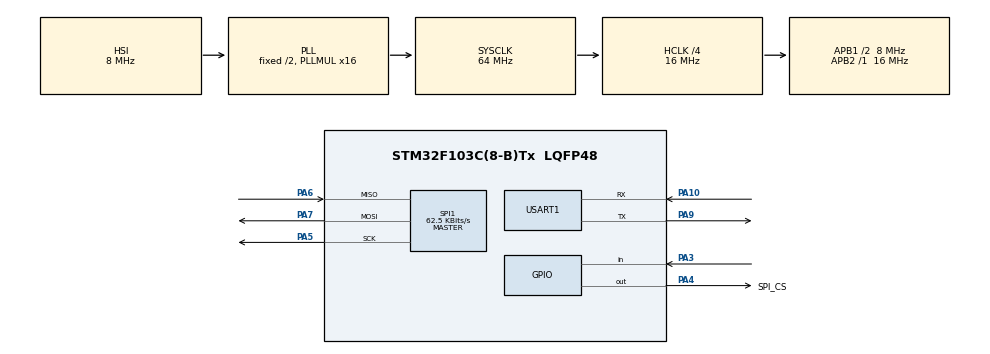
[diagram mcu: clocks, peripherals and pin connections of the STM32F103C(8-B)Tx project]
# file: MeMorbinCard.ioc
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Mcu.Family=STM32F1
Mcu.Name=STM32F103C(8-B)Tx
Mcu.Package=LQFP48
NVIC.PriorityGroup=NVIC_PRIORITYGROUP_4
NVIC.SPI1_IRQn=true\:0\:0\:false\:false\:true\:true\:true\:true
NVIC.USART1_IRQn=true\:0\:0\:false\:false\:true\:true\:true\:true
PA10.Mode=Asynchronous
PA10.Signal=USART1_RX
PA13.Mode=Serial_Wire
PA13.Signal=SYS_JTMS-SWDIO
PA14.Mode=Serial_Wire
PA14.Signal=SYS_JTCK-SWCLK
PA3.Signal=GPIO_Input
PA4.GPIO_Label=SPI_CS
PA4.PinState=GPIO_PIN_SET
PA4.Signal=GPIO_Output
PA5.Mode=Full_Duplex_Master
PA5.Signal=SPI1_SCK
PA6.Mode=Full_Duplex_Master
PA6.Signal=SPI1_MISO
PA7.Mode=Full_Duplex_Master
PA7.Signal=SPI1_MOSI
PA9.Mode=Asynchronous
PA9.Signal=USART1_TX
ProjectManager.HeapSize=0x200
ProjectManager.StackSize=0x400
ProjectManager.TargetToolchain=STM32CubeIDE
RCC.AHBCLKDivider=RCC_SYSCLK_DIV4
RCC.AHBFreq_Value=16000000
RCC.APB1CLKDivider=RCC_HCLK_DIV2
RCC.APB1Freq_Value=8000000
RCC.APB1TimFreq_Value=16000000
RCC.APB2Freq_Value=16000000
RCC.APB2TimFreq_Value=16000000
RCC.HCLKFreq_Value=16000000
RCC.PLLMUL=RCC_PLL_MUL16
RCC.SYSCLKFreq_VALUE=64000000
RCC.SYSCLKSource=RCC_SYSCLKSOURCE_PLLCLK
RCC.USBFreq_Value=64000000
SPI1.BaudRatePrescaler=SPI_BAUDRATEPRESCALER_256
SPI1.CLKPhase=SPI_PHASE_2EDGE
SPI1.CLKPolarity=SPI_POLARITY_HIGH
SPI1.CalculateBaudRate=62.5 KBits/s
SPI1.Direction=SPI_DIRECTION_2LINES
SPI1.FirstBit=SPI_FIRSTBIT_LSB
SPI1.Mode=SPI_MODE_MASTER
SPI1.VirtualType=VM_MASTER
USART1.VirtualMode=VM_ASYNC
board=custom

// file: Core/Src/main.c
/* USER CODE BEGIN Header */
/**
  ******************************************************************************
  * @file           : main.c
  * @brief          : Main program body
  ******************************************************************************
  * @attention
  *
  * Copyright (c) 2022 STMicroelectronics.
  * All rights reserved.
  *
  * This software is licensed under terms that can be found in the LICENSE file
  * in the root directory of this software component.
  * If no LICENSE file comes with this software, it is provided AS-IS.
  *
  ******************************************************************************
  */
/* USER CODE END Header */
#include "main.h"

/* USER CODE BEGIN Includes */
#include <string.h>
#include <stdio.h>
#include <stdlib.h>
/* USER CODE END Includes */

/* USER CODE BEGIN PD */
#define MEM_ID 0x81
#define MEM_READ 0x52
#define MEM_WRITE 0x57
#define IDLE 0x00

#define BUFFER_SIZE 200
#define SEND_BUFFER_SIZE 145
#define RECEIVE_BUFFER_SIZE 148

#define MEMCARD_BAD_CHECKSUM 0x4E
#define MEMCARD_BAD_SECTOR 0xFF
#define MEMCARD_WRITE_GOOD 0x47
#define MEMCARD_READ_GOOD 0x47

#define TIMEOUT 500

#define READ_COMMAND 'R'
#define WRITE_COMMAND 'W'

typedef enum Command{
	READ,
	WRITE,
	NONE
} Command;

typedef enum State{
	START,
	WAITING_FOR_COMMAND,
	RECEIVED_COMMAND,
	WAITING_FOR_DATA,
	DONE
} State;
/* USER CODE END PD */

 SPI_HandleTypeDef hspi1;

UART_HandleTypeDef huart1;

/* USER CODE BEGIN PV */
//Vou usar variáveis globais mesmo por enquanto
uint8_t command;
Command current_command = NONE;
uint8_t addr_buffer[2];
uint8_t data_buffer[128];
uint8_t buffer[130];
State state = START;
/* USER CODE END PV */

void SystemClock_Config(void);
static void MX_GPIO_Init(void);
static void MX_SPI1_Init(void);
static void MX_USART1_UART_Init(void);
/* USER CODE BEGIN PFP */
uint8_t get_checksum(uint8_t* address, uint8_t* data);
uint8_t write_to_memory(uint8_t* address, uint8_t* data);
uint8_t read_from_memory(uint8_t* address, uint8_t* received_data);
uint8_t check_write_errors(uint8_t* data);
uint8_t check_read_errors(uint8_t* data);
void transmit_uart_message(char*message, uint8_t size);

/* USER CODE END PFP */

/* USER CODE BEGIN 0 */
void hex2int(uint8_t* ch){
	uint8_t msb, lsb;
    if (ch[0] >= '0' && ch[0] <= '9')
        msb = ch[0] - '0';
    else if (ch[0] >= 'A' && ch[0] <= 'F')
        msb =  ch[0] - 'A' + 10;
    else
        msb = ch[0] - 'a' + 10;

    if (ch[1] >= '0' && ch[1] <= '9')
        lsb = ch[1] - '0';
    else if (ch[1] >= 'A' && ch[1] <= 'F')
        lsb =  ch[1] - 'A' + 10;
    else
        lsb = ch[1] - 'a' + 10;

    uint16_t tmp = msb*16+lsb;

    ch[0] = ((uint8_t*) &tmp)[0];
    ch[1] = ((uint8_t*) &tmp)[1];
}

uint8_t get_checksum(uint8_t* address, uint8_t* data){
	uint8_t check_sum = address[0]^address[1];

	int i;
	for(i = 0; i < 128; i++)
		check_sum ^= data[i];

	return check_sum;
}

uint8_t check_write_errors(uint8_t* data){
	return data[137];
}

uint8_t write_to_memory(uint8_t* address, uint8_t* data){
  uint8_t send_buffer[SEND_BUFFER_SIZE];
  uint8_t receive_buffer[SEND_BUFFER_SIZE];

  send_buffer[0] = MEM_ID;
  send_buffer[1] = MEM_WRITE;

  send_buffer[2] = IDLE;
  send_buffer[3] = IDLE;

  send_buffer[4] = address[0];
  send_buffer[5] = address[1];

  int i;
  for(i = 0; i < 128; i++)
    send_buffer[6+i] = data[i];

  send_buffer[134] = get_checksum(address, data);

  for(i = 0; i < 10; i++)
    send_buffer[135+i] = IDLE;

  HAL_GPIO_WritePin(SPI_CS_GPIO_Port, SPI_CS_Pin, GPIO_PIN_RESET);

  HAL_SPI_TransmitReceive(&hspi1, send_buffer, receive_buffer, SEND_BUFFER_SIZE, TIMEOUT);

  HAL_GPIO_WritePin(SPI_CS_GPIO_Port, SPI_CS_Pin, GPIO_PIN_SET);

  return check_write_errors(receive_buffer);
}

uint8_t check_read_errors(uint8_t* data){
	return data[139];
}

uint8_t read_from_memory(uint8_t* address, uint8_t* received_data){
  uint8_t send_buffer[RECEIVE_BUFFER_SIZE];
  uint8_t receive_buffer[RECEIVE_BUFFER_SIZE];

  HAL_GPIO_WritePin(SPI_CS_GPIO_Port, SPI_CS_Pin, GPIO_PIN_RESET);

  send_buffer[0] = MEM_ID;
  send_buffer[1] = MEM_READ;

  send_buffer[2] = IDLE;
  send_buffer[3] = IDLE;

  send_buffer[4] = address[0];
  send_buffer[5] = address[1];

  send_buffer[6] = IDLE;
  send_buffer[7] = IDLE;
  send_buffer[8] = IDLE;
  send_buffer[9] = IDLE;

  int i;
  for(i = 0; i < 130; i++)
    send_buffer[10+i] = IDLE;

  for(i = 0; i < 8; i++)
    send_buffer[140+i] = IDLE;

  HAL_GPIO_WritePin(SPI_CS_GPIO_Port, SPI_CS_Pin, GPIO_PIN_RESET);

  HAL_SPI_TransmitReceive(&hspi1, send_buffer, receive_buffer, RECEIVE_BUFFER_SIZE, TIMEOUT);

  HAL_GPIO_WritePin(SPI_CS_GPIO_Port, SPI_CS_Pin, GPIO_PIN_SET);

  for(i=0; i < 128; i++)
	  received_data[i] = receive_buffer[10+i];

  return check_read_errors(receive_buffer);
}

void transmit_uart_message(char* message, uint8_t size){
	// deixei em uma funcao por enquanto mesmo sendo so isso para
	// caso queiramos mudar a formatacao das mensagens depois
	HAL_UART_Transmit(&huart1, (uint8_t*) message, size, HAL_MAX_DELAY);
	HAL_UART_Transmit(&huart1, (uint8_t*) "\n\r", 2, HAL_MAX_DELAY);

}

void HAL_UART_RxCpltCallback(UART_HandleTypeDef *huart){
	if(current_command == NONE){
		if(command == READ_COMMAND)
			current_command = READ;
		else if(command == WRITE_COMMAND)
			current_command = WRITE;

		state = current_command == NONE ? START : RECEIVED_COMMAND;

	}else if(current_command == WRITE){
		addr_buffer[0] = buffer[0];
		addr_buffer[1] = buffer[1];
		hex2int(addr_buffer);

		int i;
		for(i = 0; i < 128; i++)
			data_buffer[i] = buffer[2+i];

		state = DONE;
	}else if(current_command == READ){
		addr_buffer[0] = buffer[0];
		addr_buffer[1] = buffer[1];
		hex2int(addr_buffer);

		state = DONE;
	}
}

/* USER CODE END 0 */

int main(void)
{

  /* MCU Configuration--------------------------------------------------------*/

  /* Reset of all peripherals, Initializes the Flash interface and the Systick. */
  HAL_Init();

  /* Configure the system clock */
  SystemClock_Config();

  /* Initialize all configured peripherals */
  MX_GPIO_Init();
  MX_SPI1_Init();
  MX_USART1_UART_Init();

  /* Infinite loop */
  /* USER CODE BEGIN WHILE */
  uint8_t status = 0;
  int receive_size = 0;
  while (1)
  {
    switch(state){
      case START:
    	transmit_uart_message("Esperando Comando", 17);
        HAL_UART_Receive_IT(&huart1, &command, 1);
        state = WAITING_FOR_COMMAND;
        break;

      case WAITING_FOR_COMMAND:
    	  break;

      case RECEIVED_COMMAND:
    	  transmit_uart_message("Comando Recebido", 16);
    	  char comm = '0'+current_command;
    	  transmit_uart_message(&comm, 1);

    	  receive_size = current_command == READ ? 2 : 130;
          HAL_UART_Receive_IT(&huart1, buffer, receive_size);
          state = WAITING_FOR_DATA;
    	  transmit_uart_message("Esperando Dados", 15);
          break;

      case WAITING_FOR_DATA:
    	  break;

      case DONE:
    	transmit_uart_message("Dados Recebidos", 15);
    	char stat[3];
      	if(current_command == READ){
      	    status = read_from_memory(addr_buffer, data_buffer);
      	    sprintf(stat, "%02X", status);
      	    transmit_uart_message("STATUS:", 7);
      	    transmit_uart_message(stat, 1);
      	    transmit_uart_message("DATA:", 5);
      	    transmit_uart_message((char*) data_buffer, 128);
      	}else if(current_command == WRITE){
      	   status = write_to_memory(addr_buffer, data_buffer);
     	   sprintf(stat, "%02X", status);
      	   transmit_uart_message("STATUS:", 7);
      	   transmit_uart_message(stat, 1);
      	 }

      	current_command = NONE;
      	state = START;
      	break;
    }
    /* USER CODE END WHILE */

  }
}

void SystemClock_Config(void)
{
  RCC_OscInitTypeDef RCC_OscInitStruct = {0};
  RCC_ClkInitTypeDef RCC_ClkInitStruct = {0};

  /** Initializes the RCC Oscillators according to the specified parameters
  * in the RCC_OscInitTypeDef structure.
  */
  RCC_OscInitStruct.OscillatorType = RCC_OSCILLATORTYPE_HSI;
  RCC_OscInitStruct.HSIState = RCC_HSI_ON;
  RCC_OscInitStruct.HSICalibrationValue = RCC_HSICALIBRATION_DEFAULT;
  RCC_OscInitStruct.PLL.PLLState = RCC_PLL_ON;
  RCC_OscInitStruct.PLL.PLLSource = RCC_PLLSOURCE_HSI_DIV2;
  RCC_OscInitStruct.PLL.PLLMUL = RCC_PLL_MUL16;
  if (HAL_RCC_OscConfig(&RCC_OscInitStruct) != HAL_OK)
  {
    Error_Handler();
  }

  /** Initializes the CPU, AHB and APB buses clocks
  */
  RCC_ClkInitStruct.ClockType = RCC_CLOCKTYPE_HCLK|RCC_CLOCKTYPE_SYSCLK
                              |RCC_CLOCKTYPE_PCLK1|RCC_CLOCKTYPE_PCLK2;
  RCC_ClkInitStruct.SYSCLKSource = RCC_SYSCLKSOURCE_PLLCLK;
  RCC_ClkInitStruct.AHBCLKDivider = RCC_SYSCLK_DIV4;
  RCC_ClkInitStruct.APB1CLKDivider = RCC_HCLK_DIV2;
  RCC_ClkInitStruct.APB2CLKDivider = RCC_HCLK_DIV1;

  if (HAL_RCC_ClockConfig(&RCC_ClkInitStruct, FLASH_LATENCY_2) != HAL_OK)
  {
    Error_Handler();
  }
}

static void MX_SPI1_Init(void)
{

  /* SPI1 parameter configuration*/
  hspi1.Instance = SPI1;
  hspi1.Init.Mode = SPI_MODE_MASTER;
  hspi1.Init.Direction = SPI_DIRECTION_2LINES;
  hspi1.Init.DataSize = SPI_DATASIZE_8BIT;
  hspi1.Init.CLKPolarity = SPI_POLARITY_HIGH;
  hspi1.Init.CLKPhase = SPI_PHASE_2EDGE;
  hspi1.Init.NSS = SPI_NSS_SOFT;
  hspi1.Init.BaudRatePrescaler = SPI_BAUDRATEPRESCALER_256;
  hspi1.Init.FirstBit = SPI_FIRSTBIT_LSB;
  hspi1.Init.TIMode = SPI_TIMODE_DISABLE;
  hspi1.Init.CRCCalculation = SPI_CRCCALCULATION_DISABLE;
  hspi1.Init.CRCPolynomial = 10;
  if (HAL_SPI_Init(&hspi1) != HAL_OK)
  {
    Error_Handler();
  }

}

static void MX_USART1_UART_Init(void)
{

  huart1.Instance = USART1;
  huart1.Init.BaudRate = 115200;
  huart1.Init.WordLength = UART_WORDLENGTH_8B;
  huart1.Init.StopBits = UART_STOPBITS_1;
  huart1.Init.Parity = UART_PARITY_NONE;
  huart1.Init.Mode = UART_MODE_TX_RX;
  huart1.Init.HwFlowCtl = UART_HWCONTROL_NONE;
  huart1.Init.OverSampling = UART_OVERSAMPLING_16;
  if (HAL_UART_Init(&huart1) != HAL_OK)
  {
    Error_Handler();
  }

}

static void MX_GPIO_Init(void)
{
  GPIO_InitTypeDef GPIO_InitStruct = {0};

  /* GPIO Ports Clock Enable */
  __HAL_RCC_GPIOC_CLK_ENABLE();
  __HAL_RCC_GPIOD_CLK_ENABLE();
  __HAL_RCC_GPIOA_CLK_ENABLE();
  __HAL_RCC_GPIOB_CLK_ENABLE();

  /*Configure GPIO pin Output Level */
  HAL_GPIO_WritePin(SPI_CS_GPIO_Port, SPI_CS_Pin, GPIO_PIN_SET);

  /*Configure GPIO pins : PC13 PC14 PC15 */
  GPIO_InitStruct.Pin = GPIO_PIN_13|GPIO_PIN_14|GPIO_PIN_15;
  GPIO_InitStruct.Mode = GPIO_MODE_ANALOG;
  HAL_GPIO_Init(GPIOC, &GPIO_InitStruct);

  /*Configure GPIO pins : PD0 PD1 */
  GPIO_InitStruct.Pin = GPIO_PIN_0|GPIO_PIN_1;
  GPIO_InitStruct.Mode = GPIO_MODE_ANALOG;
  HAL_GPIO_Init(GPIOD, &GPIO_InitStruct);

  /*Configure GPIO pins : PA0 PA1 PA2 PA8
                           PA11 PA12 PA15 */
  GPIO_InitStruct.Pin = GPIO_PIN_0|GPIO_PIN_1|GPIO_PIN_2|GPIO_PIN_8
                          |GPIO_PIN_11|GPIO_PIN_12|GPIO_PIN_15;
  GPIO_InitStruct.Mode = GPIO_MODE_ANALOG;
  HAL_GPIO_Init(GPIOA, &GPIO_InitStruct);

  /*Configure GPIO pin : PA3 */
  GPIO_InitStruct.Pin = GPIO_PIN_3;
  GPIO_InitStruct.Mode = GPIO_MODE_INPUT;
  GPIO_InitStruct.Pull = GPIO_NOPULL;
  HAL_GPIO_Init(GPIOA, &GPIO_InitStruct);

  /*Configure GPIO pin : SPI_CS_Pin */
  GPIO_InitStruct.Pin = SPI_CS_Pin;
  GPIO_InitStruct.Mode = GPIO_MODE_OUTPUT_PP;
  GPIO_InitStruct.Pull = GPIO_NOPULL;
  GPIO_InitStruct.Speed = GPIO_SPEED_FREQ_LOW;
  HAL_GPIO_Init(SPI_CS_GPIO_Port, &GPIO_InitStruct);

  /*Configure GPIO pins : PB0 PB1 PB2 PB10
                           PB11 PB12 PB13 PB14
                           PB15 PB3 PB4 PB5
                           PB6 PB7 PB8 PB9 */
  GPIO_InitStruct.Pin = GPIO_PIN_0|GPIO_PIN_1|GPIO_PIN_2|GPIO_PIN_10
                          |GPIO_PIN_11|GPIO_PIN_12|GPIO_PIN_13|GPIO_PIN_14
                          |GPIO_PIN_15|GPIO_PIN_3|GPIO_PIN_4|GPIO_PIN_5
                          |GPIO_PIN_6|GPIO_PIN_7|GPIO_PIN_8|GPIO_PIN_9;
  GPIO_InitStruct.Mode = GPIO_MODE_ANALOG;
  HAL_GPIO_Init(GPIOB, &GPIO_InitStruct);

  /*Configure peripheral I/O remapping */
  __HAL_AFIO_REMAP_PD01_ENABLE();

}

void Error_Handler(void)
{
  __disable_irq();
  while (1)
  {
  }
}
